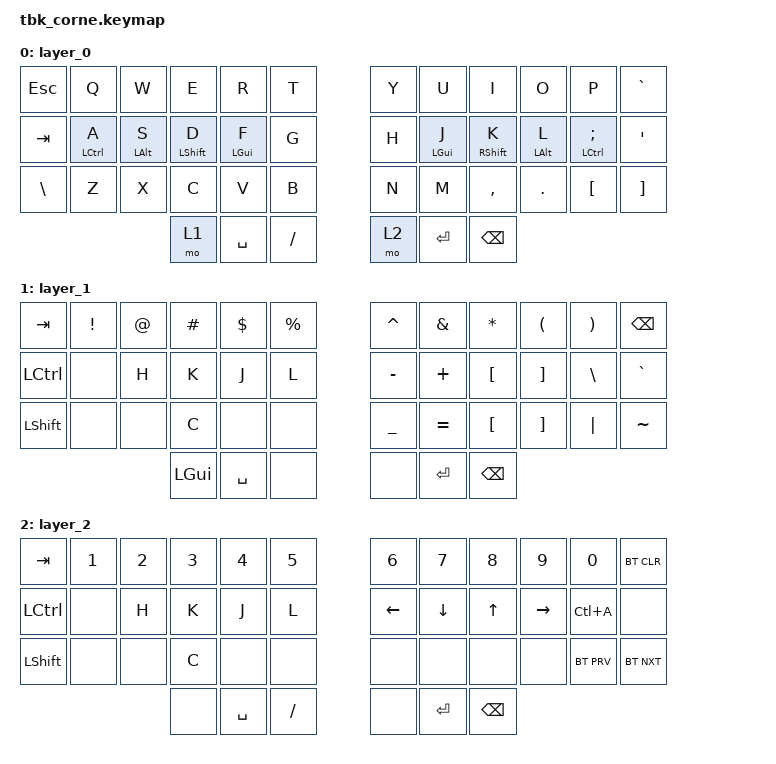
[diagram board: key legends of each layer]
/*
 * Copyright (c) 2020 The ZMK Contributors
 *
 * SPDX-License-Identifier: MIT
 */

#include <behaviors.dtsi>
#include <dt-bindings/zmk/bt.h>
#include <dt-bindings/zmk/keys.h>

// #define BASE 0
// #define SYM 1
// #define NAV 2

&mt {
    tapping-term-ms = <300>;
    require-prior-idle-ms = <125>;
    quick-tap-ms = <200>;
};

&lt { tapping-term-ms = <125>; };

/ {
    behaviors {
        hm: homerow_mods {
            compatible = "zmk,behavior-hold-tap";
            #binding-cells = <2>;
            tapping-term-ms = <150>;
            quick-tap-ms = <0>;
            flavor = "tap-preferred";
            bindings = <&kp>, <&kp>;
        };
    };

    keymap {
        compatible = "zmk,keymap";

        //         default_layer {
        //             bindings = <
        // &kp ESC   &kp Q        &kp W           &kp E         &kp R       &kp T        &kp Y      &kp U       &kp I          &kp O           &kp P            &kp GRAVE
        // &kp TAB   &hm LCTRL A  &hm LEFT_ALT S  &hm LSHIFT D  &hm LGUI F  &kp G        &kp H      &hm LGUI J  &hm RSHIFT K   &hm LEFT_ALT L  &hm LCTRL SEMI   &kp SQT
        // &kp NUBS  &kp Z        &kp X           &kp C         &kp V       &kp B        &kp N      &kp M       &kp COMMA      &kp DOT         &kp LEFT_BRACKET &kp RIGHT_BRACKET
        //                                        &mo SYM       &mo SPACE   &kp FSLH     &mo NAV    &mo ENTER   &kp BACKSPACE
        //             >;
        //         };
        //         SYM {
        //             bindings = <
        //             >;
        //         };
        //         NAV {
        //             bindings = <
        // &kp TAB    &kp N1  &kp N2   &kp N3   &kp N4     &kp N5           &kp N6     &kp N7        &kp N8         &kp N9        &kp N0    &none
        // &kp LCTRL  &none   &kp H    &kp K    &kp J      &kp L            &kp LEFT   &kp DOWN      &kp UP         &kp RIGHT     &kp C(A)  &none
        // &kp LSHFT  &none   &none    &kp C    &none      &none            &none      &none         &none  &none   &none  &none
        //                             &kp LGUI &kp SPACE  &none            &none      &none   &none
        //             >;
        //         };
        //
        //         layer_0 {
        //             bindings = <
        // &kp N7    &kp Q  &kp W  &kp E         &kp R      &kp T   &kp Y         &kp U   &kp I      &kp O    &kp P             &kp GRAVE
        // &kp N8    &kp A  &kp S  &kp D         &kp F      &kp G   &kp H         &kp J   &kp K      &kp L    &kp SEMI          &kp SQT
        // &kp NUBS  &kp Z  &kp X  &kp C         &kp V      &kp B   &kp N         &kp M   &kp COMMA  &kp DOT  &kp LEFT_BRACKET  &kp RIGHT_BRACKET
        //                         &kp NUMBER_1  &kp SPACE  &kp N2  &kp NUMBER_3  &kp N4  &kp N5
        //             >;
        //         };

        layer_0 {
            bindings = <
&kp ESC        &kp Q        &kp W           &kp E         &kp R       &kp T     &kp Y  &kp U       &kp I          &kp O           &kp P             &kp GRAVE
&kp TAB        &hm LCTRL A  &hm LEFT_ALT S  &hm LSHIFT D  &hm LGUI F  &kp G     &kp H  &hm LGUI J  &hm RSHIFT K   &hm LEFT_ALT L  &hm LCTRL SEMI    &kp SQT
&kp BACKSLASH  &kp Z        &kp X           &kp C         &kp V       &kp B     &kp N  &kp M       &kp COMMA      &kp DOT         &kp LEFT_BRACKET  &kp RIGHT_BRACKET
                                            &mo 1         &kp SPACE   &kp FSLH  &mo 2  &kp ENTER   &kp BACKSPACE
            >;
        };

        layer_1 {
            bindings = <
&kp TAB    &kp EXCL  &kp AT  &kp HASH  &kp DOLLAR  &kp PERCENT  &kp CARET  &kp AMPERSAND  &kp STAR          &kp LPAR           &kp RPAR  &kp BACKSPACE
&kp LCTRL  &none     &kp H   &kp K     &kp J       &kp L        &kp MINUS  &kp PLUS       &kp LEFT_BRACKET  &kp RIGHT_BRACKET  &kp BSLH  &kp GRAVE
&kp LSHFT  &none     &none   &kp C     &none       &none        &kp UNDER  &kp EQUAL      &kp LBKT          &kp RBKT           &kp PIPE  &kp TILDE
                             &kp LGUI  &kp SPACE   &none        &none      &kp ENTER      &kp BACKSPACE
            >;
        };

        layer_2 {
            bindings = <
&kp TAB    &kp N1  &kp N2  &kp N3  &kp N4     &kp N5    &kp N6    &kp N7     &kp N8         &kp N9     &kp N0      &bt BT_CLR
&kp LCTRL  &none   &kp H   &kp K   &kp J      &kp L     &kp LEFT  &kp DOWN   &kp UP         &kp RIGHT  &kp LC(A)   &none
&kp LSHFT  &none   &none   &kp C   &none      &none     &none     &none      &none          &none      &bt BT_PRV  &bt BT_NXT
                           &none   &kp SPACE  &kp FSLH  &none     &kp ENTER  &kp BACKSPACE
            >;
        };
    };
};
